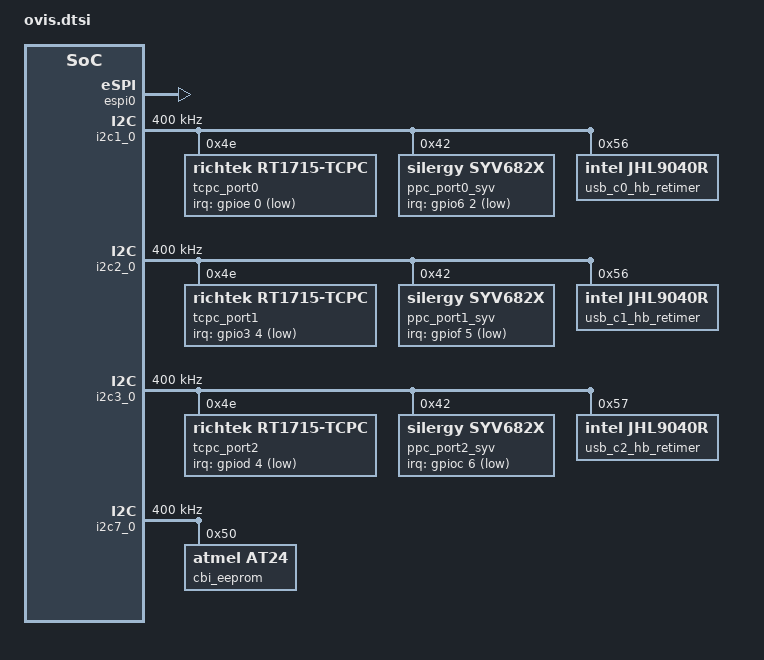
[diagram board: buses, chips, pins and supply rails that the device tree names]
/* Copyright 2023 The ChromiumOS Authors
 * Use of this source code is governed by a BSD-style license that can be
 * found in the LICENSE file.
 */

#include <dt-bindings/usb_pd_tcpm.h>

/ {
	aliases {
		gpio-wp = &gpio_gsc_flash_wp_odl;
		gpio-cbi-wp = &gpio_ec_cbi_wp;
	};

	named-gpios {
		compatible = "named-gpios";

		gpio_ec_entering_rw: ec_entering_rw {
			enum-name = "GPIO_ENTERING_RW";
		};
		usb_c0_ppc_int_odl {
			gpios = <&gpio6 2 (GPIO_INPUT | GPIO_ACTIVE_LOW)>;
		};
		usb_c1_ppc_int_odl {
			gpios = <&gpiof 5 (GPIO_INPUT | GPIO_ACTIVE_LOW)>;
		};
		usb_c2_ppc_int_odl {
			gpios = <&gpioc 6 (GPIO_INPUT | GPIO_ACTIVE_LOW)>;
		};
	};

	usba-port-enable-list {
		compatible = "cros-ec,usba-port-enable-pins";
		enable-pins = <&gpio_en_usb_a_vbus>;
	};
};

/* host interface */
&espi0 {
	status = "okay";
	pinctrl-0 = <&espi_lpc_gp46_47_51_52_53_54_55_57>;
	pinctrl-names = "default";
};

/* Power switch logic input pads */
&psl_in1_gpd2 {
	/* LID_OPEN */
	psl-in-mode = "edge";
	psl-in-pol = "high-rising";
};

&psl_in2_gp00 {
	/* ACOK_OD */
	psl-in-mode = "edge";
	psl-in-pol = "high-rising";
};

&psl_in4_gp02 {
	/* MECH_PWR_BTN_ODL */
	psl-in-mode = "edge";
	psl-in-pol = "low-falling";
};

/* Power domain device controlled by PSL (Power Switch Logic) IO pads */
&power_ctrl_psl {
	status = "okay";
	pinctrl-names = "sleep";
	pinctrl-0 = <&psl_in1_gpd2 &psl_in2_gp00 &psl_in4_gp02>;
};

/* ADC and GPIO alt-function specifications */
&adc0 {
	pinctrl-0 = <&adc0_chan0_gp45
		     &adc0_chan1_gp44>;
	pinctrl-names = "default";
};

&i2c1_0 {
	label = "I2C_USB_C0";
	clock-frequency = <I2C_BITRATE_FAST>;

	pinctrl-0 = <&i2c1_0_sda_scl_gp87_90>;
	pinctrl-names = "default";

	tcpc_port0: rt1716@4e {
		compatible = "richtek,rt1715-tcpc";
		reg = <0x4e>;
		tcpc-flags = <(TCPC_FLAGS_TCPCI_REV2_0 |
			TCPC_FLAGS_TCPCI_REV2_0_NO_VSAFE0V)>;
		/* a duplicate of the <&gpio_usb_c1_tcpc_int_odl> node in
		 * "named-gpios". This is the Zephyr preferred style,
		 * the "named-gpios" node will be dealt with at a later date.
		 */
		irq-gpios = <&gpioe 0 GPIO_ACTIVE_LOW>;
	};

	ppc_port0_syv: ppc_syv@42 {
		compatible = "silergy,syv682x";
		status = "okay";
		reg = <0x42>;
		/* a duplicate of the <&gpio_usb_c0_ppc_int_odl> node in
		 * "named-gpios". This is the Zephyr preferred style,
		 * the "named-gpios" node will be dealt with at a later date.
		 */
		irq-gpios = <&gpio6 2 GPIO_ACTIVE_LOW>;
	};

	usb_c0_hb_retimer: jhl9040r-c0@56 {
		compatible = "intel,jhl9040r";
		reg = <0x56>;
		ls-en-pin = <&gpio_usb_c0_rt_3p3_sx_en>;
		int-pin = <&gpio_usb_c0_rt_int_odl>;
		reset-pin = <&gpio_usb_c0_rt_rst_l>;
	};
};

&i2c2_0 {
	label = "I2C_USB_C1";
	clock-frequency = <I2C_BITRATE_FAST>;

	pinctrl-0 = <&i2c2_0_sda_scl_gp91_92>;
	pinctrl-names = "default";

	tcpc_port1: rt1716@4e {
		compatible = "richtek,rt1715-tcpc";
		reg = <0x4e>;
		tcpc-flags = <(TCPC_FLAGS_TCPCI_REV2_0 |
			TCPC_FLAGS_TCPCI_REV2_0_NO_VSAFE0V)>;
		/* a duplicate of the <&gpio_usb_c1_tcpc_int_odl> node in
		 * "named-gpios". This is the Zephyr preferred style,
		 * the "named-gpios" node will be dealt with at a later date.
		 */
		irq-gpios = <&gpio3 4 GPIO_ACTIVE_LOW>;
	};

	ppc_port1_syv: ppc_syv@42 {
		compatible = "silergy,syv682x";
		status = "okay";
		reg = <0x42>;
		/* a duplicate of the <&gpio_usb_c1_ppc_int_odl> node in
		 * "named-gpios". This is the Zephyr preferred style,
		 * the "named-gpios" node will be dealt with at a later date.
		 */
		irq-gpios = <&gpiof 5 GPIO_ACTIVE_LOW>;
	};

	usb_c1_hb_retimer: jhl9040r-c0@56 {
		compatible = "intel,jhl9040r";
		reg = <0x56>;
		ls-en-pin = <&gpio_usb_c1_rt_3p3_sx_en>;
		int-pin = <&gpio_usb_c1_rt_int_odl>;
		reset-pin = <&gpio_usb_c1_rt_rst_l>;
	};
};

&i2c3_0 {
	label = "I2C_USB_C2";
	clock-frequency = <I2C_BITRATE_FAST>;

	pinctrl-0 = <&i2c3_0_sda_scl_gpd0_d1>;
	pinctrl-names = "default";

	tcpc_port2: rt1716@4e {
		compatible = "richtek,rt1715-tcpc";
		reg = <0x4e>;
		tcpc-flags = <(TCPC_FLAGS_TCPCI_REV2_0 |
			TCPC_FLAGS_TCPCI_REV2_0_NO_VSAFE0V)>;
		/* a duplicate of the <&gpio_usb_c1_tcpc_int_odl> node in
		 * "named-gpios". This is the Zephyr preferred style,
		 * the "named-gpios" node will be dealt with at a later date.
		 */
		irq-gpios = <&gpiod 4 GPIO_ACTIVE_LOW>;
	};

	ppc_port2_syv: ppc_syv@42 {
		compatible = "silergy,syv682x";
		status = "okay";
		reg = <0x42>;
		/* a duplicate of the <&gpio_usb_c2_ppc_int_odl> node in
		 * "named-gpios". This is the Zephyr preferred style,
		 * the "named-gpios" node will be dealt with at a later date.
		 */
		irq-gpios = <&gpioc 6 GPIO_ACTIVE_LOW>;
	};

/* C2 retimer shares a SPI flash with C0 and must use 0x57 I2C address */
	usb_c2_hb_retimer: jhl9040r-c0@57 {
		compatible = "intel,jhl9040r";
		reg = <0x57>;
		ls-en-pin = <&gpio_usb_c2_rt_3p3_sx_en>;
		int-pin = <&gpio_usb_c2_rt_int_odl>;
		reset-pin = <&gpio_usb_c2_rt_rst_l>;
	};
};

&i2c7_0 {
	label = "I2C_MISC";
	clock-frequency = <I2C_BITRATE_FAST>;

	pinctrl-0 = <&i2c7_0_sda_scl_gpb2_b3>;
	pinctrl-names = "default";

	cbi_eeprom: eeprom@50 {
		compatible = "atmel,at24";
		reg = <0x50>;
		size = <2048>;
		pagesize = <16>;
		address-width = <8>;
		timeout = <5>;
	};
};
